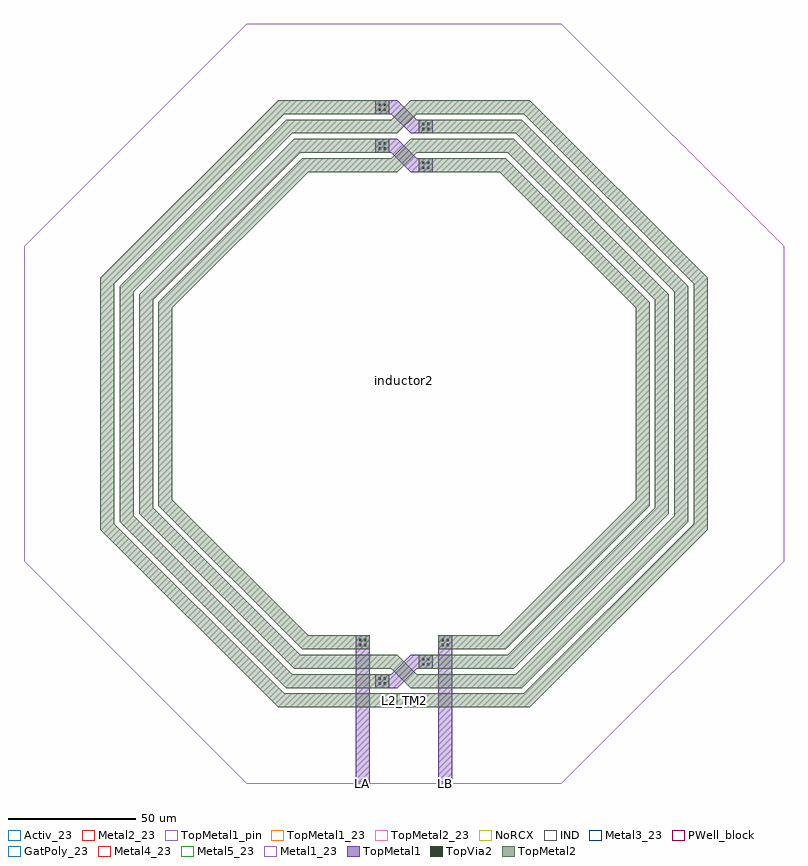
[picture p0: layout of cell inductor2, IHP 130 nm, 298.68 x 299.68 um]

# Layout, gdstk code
import gdstk
lib = gdstk.Library(unit=1e-6, precision=1e-09)
def R(c, l, rs):  # rectangles x0, y0, x1, y1
    for r in rs: c.add(gdstk.rectangle(r[:2], r[2:], *l))
def P(c, l, *ps):  # polygons
    for p in ps: c.add(gdstk.Polygon(p, *l))
Activ_23 = (1, 23)
GatPoly_23 = (5, 23)
Metal1_23 = (8, 23)
Metal2_23 = (10, 23)
IND = (27, 0)
Metal3_23 = (30, 23)
PWell_block = (46, 21)
Metal4_23 = (50, 23)
Metal5_23 = (67, 23)
TopMetal1 = (126, 0)
TopMetal1_pin = (126, 2)
TopMetal1_23 = (126, 23)
TopVia2 = (133, 0)
TopMetal2 = (134, 0)
TopMetal2_23 = (134, 23)
NoRCX = (148, 0)

inductor2 = lib.new_cell('inductor2')
P(inductor2, Activ_23, [(-61.855,0),(-149.34,87.485),(-149.34,211.195),(-61.855,298.68),(61.855,298.68),(149.34,211.195),(149.34,87.485),(61.855,0)])
P(inductor2, GatPoly_23, [(-61.855,0),(-149.34,87.485),(-149.34,211.195),(-61.855,298.68),(61.855,298.68),(149.34,211.195),(149.34,87.485),(61.855,0)])
P(inductor2, Metal1_23, [(-61.855,0),(-149.34,87.485),(-149.34,211.195),(-61.855,298.68),(61.855,298.68),(149.34,211.195),(149.34,87.485),(61.855,0)])
P(inductor2, Metal2_23, [(-61.855,0),(-149.34,87.485),(-149.34,211.195),(-61.855,298.68),(61.855,298.68),(149.34,211.195),(149.34,87.485),(61.855,0)])
R(inductor2, IND, [(-2.76,29.99,2.76,35.51)])
P(inductor2, Metal3_23, [(-61.855,0),(-149.34,87.485),(-149.34,211.195),(-61.855,298.68),(61.855,298.68),(149.34,211.195),(149.34,87.485),(61.855,0)])
P(inductor2, PWell_block, [(-61.855,0),(-149.34,87.485),(-149.34,211.195),(-61.855,298.68),(61.855,298.68),(149.34,211.195),(149.34,87.485),(61.855,0)])
P(inductor2, Metal4_23, [(-61.855,0),(-149.34,87.485),(-149.34,211.195),(-61.855,298.68),(61.855,298.68),(149.34,211.195),(149.34,87.485),(61.855,0)])
P(inductor2, Metal5_23, [(-61.855,0),(-149.34,87.485),(-149.34,211.195),(-61.855,298.68),(61.855,298.68),(149.34,211.195),(149.34,87.485),(61.855,0)])
P(inductor2, TopMetal1, [(2.685,240.3),(-4.935,247.92),(-11.325,247.92),(-11.325,253.42),(-2.685,253.42),(4.935,245.8),(11.325,245.8),(11.325,240.3)],
  [(2.685,255.54),(-4.935,263.16),(-11.325,263.16),(-11.325,268.66),(-2.685,268.66),(4.935,261.04),(11.325,261.04),(11.325,255.54)],
  [(-11.325,37.6),(-11.325,43.1),(-4.945,43.1),(2.655,50.7),(11.335,50.7),(11.335,45.2),(4.935,45.2),(-2.665,37.6)])
R(inductor2, TopMetal1_pin, [(-18.925,-1,-13.425,1), (13.425,-1,18.925,1)])
P(inductor2, TopMetal1_23, [(-61.855,0),(-149.34,87.485),(-149.34,211.195),(-61.855,298.68),(61.855,298.68),(149.34,211.195),(149.34,87.485),(61.855,0)])
R(inductor2, TopVia2, [(-10.005,38.92,-9.105,39.82), (-8.045,38.92,-7.145,39.82), (-10.005,40.88,-9.105,41.78), (-8.045,40.88,-7.145,41.78), (7.155,46.52,8.055,47.42), (9.115,46.52,10.015,47.42), (7.155,48.48,8.055,49.38), (9.115,48.48,10.015,49.38), (-17.605,54.12,-16.705,55.02), (-15.645,54.12,-14.745,55.02), (14.745,54.12,15.645,55.02), (16.705,54.12,17.605,55.02), (-17.605,56.08,-16.705,56.98), (-15.645,56.08,-14.745,56.98), (14.745,56.08,15.645,56.98), (16.705,56.08,17.605,56.98), (7.145,241.62,8.045,242.52), (9.105,241.62,10.005,242.52), (7.145,243.58,8.045,244.48), (9.105,243.58,10.005,244.48), (-10.005,249.22,-9.105,250.12), (-8.045,249.22,-7.145,250.12), (-10.005,251.18,-9.105,252.08), (-8.045,251.18,-7.145,252.08), (7.145,256.86,8.045,257.76), (9.105,256.86,10.005,257.76), (7.145,258.82,8.045,259.72), (9.105,258.82,10.005,259.72), (-10.005,264.46,-9.105,265.36), (-8.045,264.46,-7.145,265.36), (-10.005,266.42,-9.105,267.32), (-8.045,266.42,-7.145,267.32)])
R(inductor2, TopMetal2, [(-5.825,30,5.825,35.5)])
P(inductor2, TopMetal2, [(13.425,52.8),(13.425,58.3),(37.69,58.3),(91,111.61),(91,186.99),(37.69,240.3),(5.825,240.3),(5.825,245.8),(39.975,245.8),(96.5,189.275),(96.5,109.325),(39.975,52.8)],
  [(-39.975,52.8),(-96.5,109.325),(-96.5,189.275),(-39.975,245.8),(-5.825,245.8),(-5.825,240.3),(-37.69,240.3),(-91,186.99),(-91,111.61),(-37.69,58.3),(-13.425,58.3),(-13.425,52.8)],
  [(-5.825,240.3),(-5.825,245.8),(-4.935,245.8),(2.685,253.42),(5.825,253.42),(5.825,247.92),(4.965,247.92),(-2.655,240.3)],
  [(5.825,45.2),(5.825,50.7),(40.845,50.7),(98.61,108.465),(98.61,190.155),(40.845,247.92),(5.825,247.92),(5.825,253.42),(43.13,253.42),(104.11,192.44),(104.11,106.18),(43.13,45.2)],
  [(-43.13,45.2),(-104.11,106.18),(-104.11,192.44),(-43.13,253.42),(-5.825,253.42),(-5.825,247.92),(-40.845,247.92),(-98.61,190.155),(-98.61,108.465),(-40.845,50.7),(-5.825,50.7),(-5.825,45.2)],
  [(5.825,37.6),(5.825,43.1),(43.995,43.1),(106.22,105.325),(106.22,193.315),(43.995,255.54),(5.825,255.54),(5.825,261.04),(46.28,261.04),(111.72,195.6),(111.72,103.04),(46.28,37.6)],
  [(-46.28,37.6),(-111.72,103.04),(-111.72,195.6),(-46.28,261.04),(-5.825,261.04),(-5.825,255.54),(-43.995,255.54),(-106.22,193.315),(-106.22,105.325),(-43.995,43.1),(-5.825,43.1),(-5.825,37.6)],
  [(-5.825,255.54),(-5.825,261.04),(-4.935,261.04),(2.685,268.66),(5.825,268.66),(5.825,263.16),(4.965,263.16),(-2.655,255.54)],
  [(2.665,37.6),(-4.935,45.2),(-5.825,45.2),(-5.825,50.7),(-2.655,50.7),(4.945,43.1),(5.825,43.1),(5.825,37.6)],
  [(5.825,30),(5.825,35.5),(47.145,35.5),(113.83,102.185),(113.83,196.475),(47.145,263.16),(5.825,263.16),(5.825,268.66),(49.43,268.66),(119.33,198.76),(119.33,99.9),(49.43,30)],
  [(-49.43,30),(-119.33,99.9),(-119.33,198.76),(-49.43,268.66),(-5.825,268.66),(-5.825,263.16),(-47.145,263.16),(-113.83,196.475),(-113.83,102.185),(-47.145,35.5),(-5.825,35.5),(-5.825,30)])
P(inductor2, TopMetal2_23, [(-61.855,0),(-149.34,87.485),(-149.34,211.195),(-61.855,298.68),(61.855,298.68),(149.34,211.195),(149.34,87.485),(61.855,0)])
P(inductor2, NoRCX, [(-61.855,0),(-149.34,87.485),(-149.34,211.195),(-61.855,298.68),(61.855,298.68),(149.34,211.195),(149.34,87.485),(61.855,0)])
inductor2.add(gdstk.FlexPath([(16.175,-1),(16.175,58.3)], 5.5, ends="flush", simple_path=True, layer=126, datatype=0))  # TopMetal1
inductor2.add(gdstk.FlexPath([(-16.175,-1),(-16.175,58.3)], 5.5, ends="flush", simple_path=True, layer=126, datatype=0))  # TopMetal1
inductor2.add(gdstk.Label('L2_TM2', (0,32.75), layer=63, texttype=0))
inductor2.add(gdstk.Label('LB', (16.175,0), layer=63, texttype=0))
inductor2.add(gdstk.Label('LA', (-16.175,0), layer=63, texttype=0))
inductor2.add(gdstk.Label('inductor2', (0,158.57), layer=63, texttype=0))

lib.write_gds('inductor2.gds')
